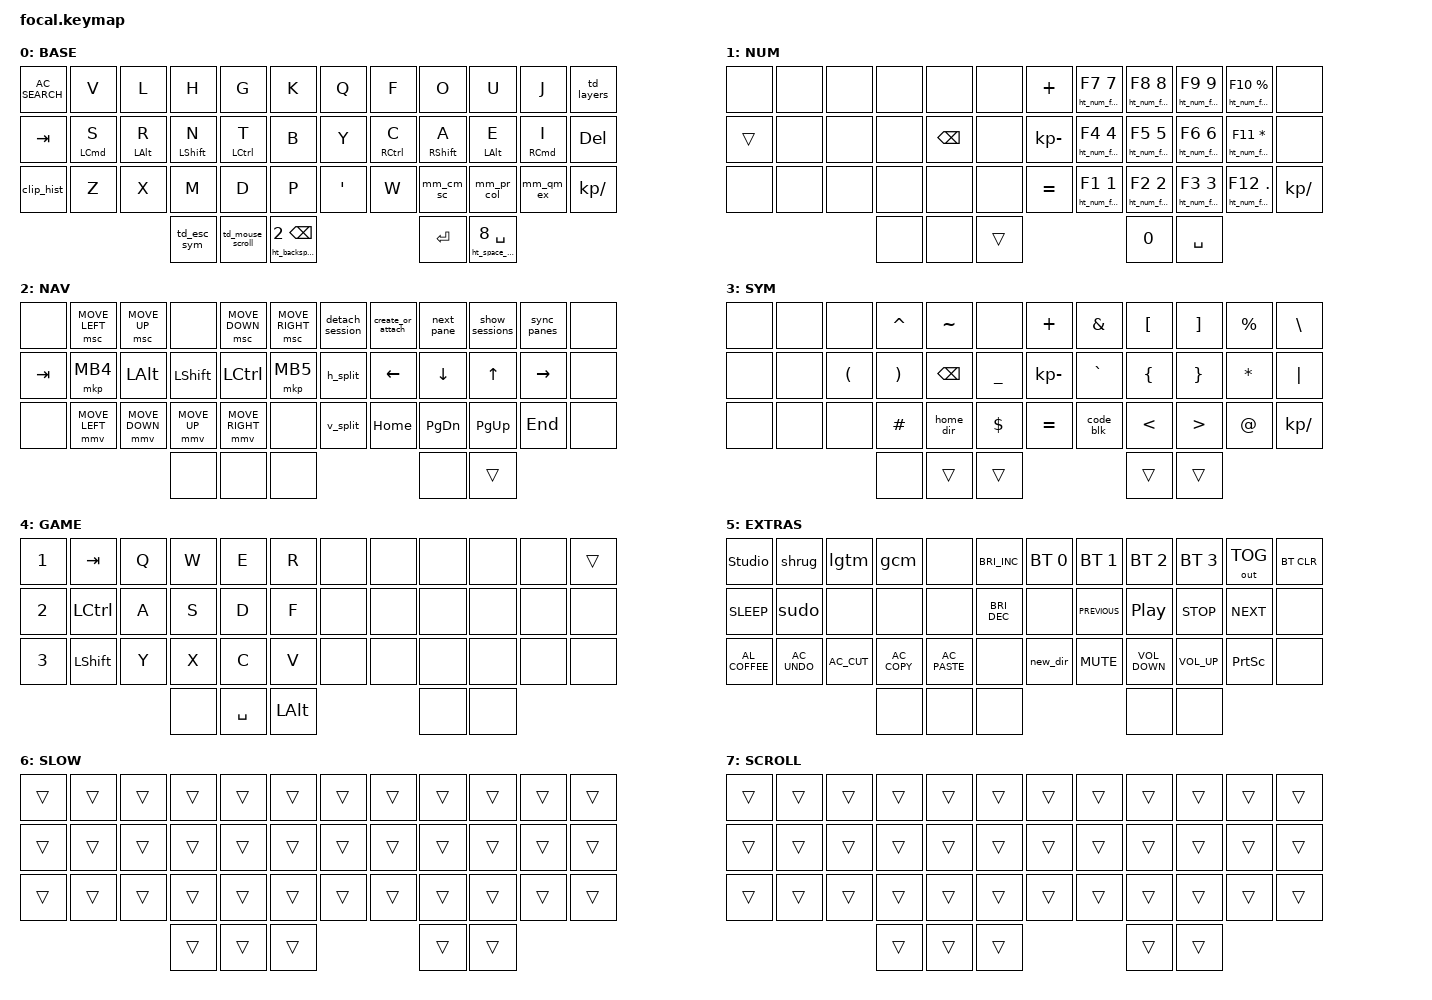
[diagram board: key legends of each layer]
/* upstream bindings and behaviors */
#include <behaviors.dtsi>
#include <dt-bindings/zmk/bt.h>
#include <dt-bindings/zmk/keys.h>
#include <dt-bindings/zmk/mouse.h>
#include <dt-bindings/zmk/outputs.h>
#include <behaviors/mouse_keys.dtsi>
#include <dt-bindings/zmk/ext_power.h>

/* local overlays */
#include "macros.dtsi"
#include "behaviors.dtsi"
#include "combos.dtsi"

/ {
/* --- KEYMAP CONFIG --- */
// ╭──────┬──────┬──────┬──────┬──────┬──────╮  ╭──────┬──────┬──────┬──────┬──────┬──────╮
//    00     01     02     03    04      05        06     07     08     09     10     11
// ├──────┼──────┼──────┼──────┼──────┼──────┤  ├──────┼──────┼──────┼──────┼──────┼──────┤
//    12     13     14     15    16      17        18     19     20     21     22     23
// ├──────┼──────┼──────┼──────┼──────┼──────┤  ├──────┼──────┼──────┼──────┼──────┼──────┤
//    24     25     26     27    28      29        30     31     32     33     34     35
// ╰──────┴──────┴──────┼──────┼──────┼──────┤  ├──────┼──────┼──────┴──────┴──────┴──────╯
//                         36     37     38        39     40
//                      ╰──────┴──────┴──────╯  ╰──────┴──────╯
// #define BASE    0
// #define NUM     1
// #define NAV     2
// #define SYM     3
// #define GAME    4
// #define EXTRAS  5
// #define SLOW    6
// #define SCROLL  7

    keymap {
        compatible = "zmk,keymap";
        BASE {
            bindings = <
// ╭───────────────┬────────────────┬────────────────┬─────────────────┬─────────────────┬──────╮  ╭──────┬──────────────────┬──────────────────┬─────────────────┬────────────────────────┬─────────────╮
    &kp C_AC_SEARCH &kp V            &kp L            &kp H             &kp G             &kp K     &kp Q  &kp F              &kp O              &kp U             &kp J                     &td_layers
// ├───────────────┼────────────────┼────────────────┼─────────────────┼─────────────────┼──────┤  ├──────┼──────────────────┼──────────────────┼─────────────────┼────────────────────────┼─────────────┤
    &kp TAB         &ht_left LCMD S  &ht_left LALT R  &ht_left LSHFT N  &ht_left LCTRL T  &kp B     &kp Y  &ht_right RCTRL C  &ht_right RSHFT A  &ht_right LALT E  &ht_right RCMD I  &kp DEL
// ├───────────────┼────────────────┼────────────────┼─────────────────┼─────────────────┼──────┤  ├──────┼──────────────────┼──────────────────┼─────────────────┼────────────────────────┼─────────────┤
    &clip_hist      &kp Z            &kp X            &kp M             &kp D             &kp P     &kp APOS  &kp W              &mm_cm_sc          &mm_pr_col        &mm_qm_ex                 &kp KP_SLASH
// ╰───────────────┴────────────────┴────────────────┼─────────────────┼─────────────────┼──────┤  ├──────┼──────────────────┼──────────────────┴─────────────────┴────────────────────────┴─────────────╯
                                                             &td_esc_sym   &td_mouse_scroll  &ht_backspace_layer 2 BACKSPACE     &kp ENTER  &ht_space_layer 8 SPACE
                                                         // ╰──────────────────┴─────────┴──────╯  ╰──────────┴──────────────╯
            >;
        };

        NUM {
            bindings = <
&none   &none  &none  &none  &none          &none            &kp PLUS      &ht_num_func F7 N7  &ht_num_func F8 N8  &ht_num_func F9 N9  &ht_num_func F10 PRCNT  &none
&trans   &none  &none  &none  &kp BACKSPACE  &none            &kp KP_MINUS &ht_num_func F4 N4  &ht_num_func F5 N5  &ht_num_func F6 N6  &ht_num_func F11 ASTRK  &none
&none    &none  &none  &none  &none          &none            &kp EQUAL    &ht_num_func F1 N1  &ht_num_func F2 N2  &ht_num_func F3 N3  &ht_num_func F12 DOT    &kp KP_SLASH
                       &none  &none          &trans           &kp N0     &kp SPACE
            >;
        };

        NAV {
            bindings = <
&none    &msc MOVE_LEFT  &msc MOVE_UP    &none        &msc MOVE_DOWN  &msc MOVE_RIGHT     &detach_session  &create_or_attach  &next_pane   &show_sessions  &sync_panes       &none
&kp TAB  &mkp MB4        &kp LALT        &kp LSHFT    &kp LCTRL       &mkp MB5            &h_split         &kp LEFT_ARROW     &kp DOWN     &kp UP          &kp RIGHT_ARROW   &none
&none    &mmv MOVE_LEFT  &mmv MOVE_DOWN  &mmv MOVE_UP &mmv MOVE_RIGHT &none               &v_split         &kp HOME           &kp PG_DN    &kp PG_UP       &kp END           &none
                                                      &none   &none   &none               &none   &trans
            >;
        };

        SYM {
            bindings = <
&none      &none     &none     &kp CARET &kp TILDE       &none         &kp PLUS     &kp AMPS  &kp LBKT  &kp RBKT  &kp PRCNT  &kp BSLH
&none      &none     &kp LPAR  &kp RPAR  &kp BACKSPACE   &kp UNDER     &kp KP_MINUS &kp GRAVE &kp LBRC  &kp RBRC  &kp ASTRK  &kp PIPE
&none      &none     &none     &kp HASH  &home_dir       &kp DLLR      &kp EQUAL    &code_blk &kp LT    &kp GT    &kp AT     &kp KP_SLASH
                                       &none  &trans     &trans         &trans   &trans
            >;
        };

        GAME {
            bindings = <
&kp N1  &kp TAB    &kp Q  &kp W   &kp E      &kp R           &none  &none  &none  &none  &none  &trans
&kp N2  &kp LCTRL  &kp A  &kp S   &kp D      &kp F           &none  &none  &none  &none  &none  &none
&kp N3  &kp LSHFT  &kp Y  &kp X   &kp C      &kp V           &none  &none  &none  &none  &none  &none
                          &none   &kp SPACE  &kp LEFT_ALT    &none  &none
            >;
        };

        EXTRAS {
            bindings = <
&studio_unlock    &shrug          &lgtm           &gcm            &none           &kp C_BRIGHTNESS_INC    &bt BT_SEL 0  &bt BT_SEL 1    &bt BT_SEL 2       &bt BT_SEL 3  &out OUT_TOG         &bt BT_CLR
&kp C_SLEEP       &sudo           &none           &none           &none           &kp C_BRIGHTNESS_DEC    &none         &kp C_PREVIOUS  &kp C_PLAY_PAUSE   &kp C_STOP    &kp C_NEXT           &none
&kp C_AL_COFFEE   &kp C_AC_UNDO   &kp C_AC_CUT    &kp C_AC_COPY   &kp C_AC_PASTE  &none                   &new_dir      &kp K_MUTE      &kp C_VOLUME_DOWN  &kp C_VOLUME_UP   &kp PRINTSCREEN  &none
                                                                                   &none  &none  &none    &none         &none
            >;
        };

        SLOW {
            bindings = <
&trans    &trans    &trans    &trans    &trans    &trans    &trans    &trans    &trans    &trans    &trans    &trans
&trans    &trans    &trans    &trans    &trans    &trans    &trans    &trans    &trans    &trans    &trans    &trans
&trans    &trans    &trans    &trans    &trans    &trans    &trans    &trans    &trans    &trans    &trans    &trans
                              &trans    &trans    &trans    &trans    &trans
            >;
        };

        SCROLL {
            bindings = <
&trans    &trans    &trans    &trans    &trans    &trans    &trans    &trans    &trans    &trans    &trans    &trans
&trans    &trans    &trans    &trans    &trans    &trans    &trans    &trans    &trans    &trans    &trans    &trans
&trans    &trans    &trans    &trans    &trans    &trans    &trans    &trans    &trans    &trans    &trans    &trans
                              &trans    &trans    &trans    &trans    &trans
            >;
        };
    };
};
